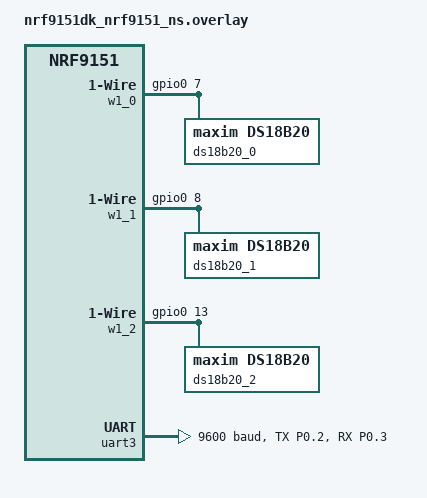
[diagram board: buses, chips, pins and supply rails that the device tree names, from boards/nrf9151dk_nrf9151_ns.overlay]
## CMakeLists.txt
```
#
# Copyright (c) 2019 Nordic Semiconductor
#
# SPDX-License-Identifier: LicenseRef-Nordic-5-Clause
#

cmake_minimum_required(VERSION 3.20.0)

find_package(Zephyr REQUIRED HINTS $ENV{ZEPHYR_BASE})
project(lisp_poc)

# NORDIC SDK APP START
target_sources(app PRIVATE src/main.c src/leds.c)
# NORDIC SDK APP END
```

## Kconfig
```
menu "LISP PoC"

config LISP_POC_RESOURCE
	string "CoAP resource - path"
	default "api/v1/gv5va3mC63vezs1Jke8R/telemetry"

config LISP_POC_SERVER_HOSTNAME
	string "CoAP server hostname"
	default "coap.eu.thingsboard.cloud"

config LISP_POC_SERVER_PORT
	int "CoAP server port"
	default 5683

config LISP_POC_STARTUP_DELAY_SECONDS
	int "Delay between the powerup and app logic start"
	default 15

config LISP_POC_DATA_UPLOAD_ITERATIONS
	int "Number of data transmissions to the server before shutdown"
	range -1 2147483647
	default -1
	help
	  Number of data transmissions to the server before shutdown.
	  Set to -1 to transmit indefinitely.

config LISP_POC_UPLOAD_FREQUENCY_SECONDS
	int "How often data is transmitted to the server"
	default 1800

endmenu

menu "Zephyr Kernel"
source "Kconfig.zephyr"
endmenu

# Log level configuration
module = LISP_POC
module-str = LISP PoC
source "$(ZEPHYR_BASE)/subsys/logging/Kconfig.template.log_config"
```

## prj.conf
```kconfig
# General
CONFIG_ASSERT=y
CONFIG_REBOOT=y
CONFIG_MAIN_STACK_SIZE=4096

# Serial & logging
CONFIG_LOG=y
CONFIG_LOG_BACKEND_SHOW_COLOR=n
CONFIG_LOG_TIMESTAMP_USE_REALTIME=y
CONFIG_UART_CONSOLE=y
CONFIG_SERIAL=y

# Enable the date-time library and automatic update on LTE connect (no regular updates)
CONFIG_DATE_TIME=y
CONFIG_DATE_TIME_MODEM=y
CONFIG_DATE_TIME_AUTO_UPDATE=y
CONFIG_DATE_TIME_TOO_OLD_SECONDS=0
CONFIG_DATE_TIME_UPDATE_INTERVAL_SECONDS=0

# Shell
CONFIG_SHELL=y
CONFIG_SHELL_BACKEND_SERIAL=y
CONFIG_SHELL_LOG_BACKEND=y

# Networking
CONFIG_NETWORKING=y
CONFIG_NET_SOCKETS=y
CONFIG_POSIX_API=y
CONFIG_NET_NATIVE=y
CONFIG_NET_UDP=y
CONFIG_NET_IPV4=y

# CoAP
CONFIG_COAP=y
CONFIG_COAP_CLIENT=y
CONFIG_COAP_CLIENT_THREAD_PRIORITY=10
CONFIG_COAP_CLIENT_MESSAGE_SIZE=1024
CONFIG_COAP_CLIENT_MESSAGE_HEADER_SIZE=64

# Sensors
CONFIG_GPIO=y
CONFIG_SENSOR=y
CONFIG_DS18B20=y
CONFIG_W1=y

# GPIO
CONFIG_GPIO=y

# Reconfig the sample (longer breaks between CoAP reports)
# CONFIG_COAP_SAMPLE_REQUEST_INTERVAL_SECONDS=1800 # 30 minutes

# PSM and eDRX
CONFIG_LTE_LINK_CONTROL=y
CONFIG_LTE_LC_PSM_MODULE=y
CONFIG_LTE_LC_EDRX_MODULE=y
CONFIG_LTE_EDRX_REQ=y
CONFIG_LTE_PSM_REQ=y
CONFIG_LTE_PSM_REQ_RPTAU="00000001" # 10 minutes in sleep
CONFIG_LTE_PSM_REQ_RAT="00100010" # 2 minutes in active time
CONFIG_LTE_LC_MODEM_SLEEP_MODULE=y

# TAU pre warning (experimental only)
CONFIG_LTE_LC_TAU_PRE_WARNING_MODULE=y
CONFIG_LTE_LC_TAU_PRE_WARNING_TIME_MS=3000
CONFIG_LTE_LC_CELLULAR_PROFILE_MODULE=y
CONFIG_LTE_LC_PDN_MODULE=y
CONFIG_LTE_LC_RAI_MODULE=y

# Modem core
CONFIG_NRF_MODEM_LIB=y
CONFIG_MODEM_INFO=y
CONFIG_MODEM_INFO_ADD_NETWORK=y

CONFIG_CBPRINTF_FP_SUPPORT=y

# CONFIG_STACK_SENTINEL=y
# CONFIG_INIT_STACKS=y
# CONFIG_THREAD_STACK_INFO=y
# CONFIG_THREAD_ANALYZER=y
# CONFIG_THREAD_ANALYZER_AUTO=y
# CONFIG_THREAD_ANALYZER_AUTO_INTERVAL=10

CONFIG_SYSTEM_WORKQUEUE_STACK_SIZE=2048
```

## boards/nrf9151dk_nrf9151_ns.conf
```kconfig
#
# Copyright (c) 2024 Nordic Semiconductor ASA
#
# SPDX-License-Identifier: LicenseRef-Nordic-5-Clause
#

# Configuration file for nRF9151 DK
# This file is merged with prj.conf in the application folder, and options
# set here will take precedence if they are present in both files.

# General
CONFIG_HW_ID_LIBRARY_SOURCE_IMEI=y

# Disable Duplicate Address Detection (DAD)
# due to not being properly implemented for offloaded interfaces.
CONFIG_NET_IPV6_NBR_CACHE=n
CONFIG_NET_IPV6_MLD=n

# Zephyr Connectivity layer.
CONFIG_NRF_MODEM_LIB_NET_IF=y
```

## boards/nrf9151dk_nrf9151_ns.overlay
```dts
/ {
    w1_0: w1_gpio_0 {
        compatible = "zephyr,w1-gpio";
        gpios = <&gpio0 7 GPIO_ACTIVE_HIGH>;
        status = "okay";

        ds18b20_0: temperature {
            compatible = "maxim,ds18b20";
            resolution = <12>;
        };
    };

    w1_1: w1_gpio_1 {
        compatible = "zephyr,w1-gpio";
        gpios = <&gpio0 8 GPIO_ACTIVE_HIGH>;
        status = "okay";

        ds18b20_1: temperature {
            compatible = "maxim,ds18b20";
            resolution = <12>;
        };
    };

    w1_2: w1_gpio_2 {
        compatible = "zephyr,w1-gpio";
        gpios = <&gpio0 13 GPIO_ACTIVE_HIGH>;
        status = "okay";

        ds18b20_2: temperature {
            compatible = "maxim,ds18b20";
            resolution = <12>;
        };
    };
};

/ {
    chosen {
        zephyr,console = &uart0;
        zephyr,shell-uart = &uart3;
    };
};

&pinctrl {
    uart3_default: uart3_default {
        group_tx_rx {
            psels = <NRF_PSEL(UART_TX, 0, 2)>,
                    <NRF_PSEL(UART_RX, 0, 3)>;
            bias-pull-up;
        };
    };

    uart3_sleep: uart3_sleep {
        group_tx_rx {
            psels = <NRF_PSEL(UART_TX, 0, 2)>,
                    <NRF_PSEL(UART_RX, 0, 3)>;
            low-power-enable;
        };
    };
};

&uart3 {
    status = "okay";
    current-speed = <9600>;
    pinctrl-0 = <&uart3_default>;
    pinctrl-1 = <&uart3_sleep>;
    pinctrl-names = "default", "sleep";
};

&spi3 {
    status = "disabled";
};
```

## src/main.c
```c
/*
 * TODO: Fix global variables, check return values, improve the architecture, check for corner cases, check for other
 * coding guides suggestions
 */

#include <modem/lte_lc.h>
#include <modem/modem_info.h>
#include <modem/nrf_modem_lib.h>
#include <nrf_modem_at.h>
#include <stdio.h>
#include <string.h>
#include <zephyr/device.h>
#include <zephyr/drivers/sensor.h>
#include <zephyr/kernel.h>
#include <zephyr/logging/log.h>
#include <zephyr/logging/log_ctrl.h>
#include <zephyr/net/coap.h>
#include <zephyr/net/coap_client.h>
#include <zephyr/net/socket.h>
#include <zephyr/random/random.h>
#include <zephyr/sys/reboot.h>

#include "leds.h"

LOG_MODULE_REGISTER(lisp_poc, CONFIG_LISP_POC_LOG_LEVEL);

/* Macro called upon a fatal error, reboots the device. */
#define FATAL_ERROR()                            \
  LOG_ERR("Fatal error! Rebooting the device."); \
  LOG_PANIC();                                   \
  IF_ENABLED(CONFIG_REBOOT, (sys_reboot(0)))

#define MAX_TELEMETRY_SIZE_BYTES 256
#define MAX_OPERATOR_STRING_SIZE_BYTES 16
#define MAX_RAT_STRING_SIZE_BYTES 16
#define WAIT_FOR_NETWORK_TIMEOUT_MINUTES 30
#define FATAL_ERROR_SHUTDOWN_DELAY_SECONDS 10

static const float TEMPERATURE_CALIBRATION_OFFSET_DEGC[] = {0.0f, 0.2f, 0.0f};

static struct k_work_delayable measure_and_upload_work;
static struct sockaddr_storage server = {0};
static struct coap_client coap_client = {0};
static int sock;
static bool is_connected; /* Variable used to indicate if network is connected. */

int last_known_rsrp_dbm = -1;

/* Mutex and conditional variable used to signal network connectivity and shutdown request. */
K_SEM_DEFINE(modem_shutdown_sem, 0, 1);
K_MUTEX_DEFINE(network_connected_lock);
K_CONDVAR_DEFINE(network_connected);

static void wait_for_network(void) {
  k_mutex_lock(&network_connected_lock, K_FOREVER);

  while (!is_connected) {
    LOG_INF("Waiting for network connectivity");
    int err = k_condvar_wait(&network_connected, &network_connected_lock, K_MINUTES(WAIT_FOR_NETWORK_TIMEOUT_MINUTES));
    if (err == -EAGAIN) {
      LOG_ERR("Waiting for the network timed out (timeout: %d minutes)", WAIT_FOR_NETWORK_TIMEOUT_MINUTES);
      k_sem_give(&modem_shutdown_sem);
      k_sleep(K_SECONDS(FATAL_ERROR_SHUTDOWN_DELAY_SECONDS));
      FATAL_ERROR();
    }
  }

  k_mutex_unlock(&network_connected_lock);
}

static void response_cb(int16_t code, size_t offset, const uint8_t* payload, size_t len, bool last_block,
                        void* user_data) {
  if (code >= 0) {
    LOG_INF("CoAP response: code: 0x%x", code);
    if (code >= COAP_RESPONSE_CODE_BAD_REQUEST) {
      LOG_ERR("CoAP response code indicates a failure (restarting the device)");
      lte_lc_func_mode_set(LTE_LC_FUNC_MODE_POWER_OFF);
      FATAL_ERROR();
    }
  } else {
    LOG_INF("Response received with error code: %d", code);
  }
}

static int server_resolve(struct sockaddr_storage* server) {
  int err;
  struct addrinfo* result;
  struct addrinfo hints = {.ai_family = AF_INET, .ai_socktype = SOCK_DGRAM};
  char ipv4_addr[NET_IPV4_ADDR_LEN];

  err = getaddrinfo(CONFIG_LISP_POC_SERVER_HOSTNAME, NULL, &hints, &result);
  if (err) {
    LOG_ERR("getaddrinfo, error: %d", err);
    return err;
  }

  if (result == NULL) {
    LOG_ERR("Address not found");
    return -ENOENT;
  }

  /* IPv4 Address. */
  struct sockaddr_in* server4 = ((struct sockaddr_in*)server);

  server4->sin_addr.s_addr = ((struct sockaddr_in*)result->ai_addr)->sin_addr.s_addr;
  server4->sin_family = AF_INET;
  server4->sin_port = htons(CONFIG_LISP_POC_SERVER_PORT);

  inet_ntop(AF_INET, &server4->sin_addr.s_addr, ipv4_addr, sizeof(ipv4_addr));

  LOG_INF("IPv4 Address found %s", ipv4_addr);

  /* Free the address. */
  freeaddrinfo(result);

  return 0;
}

static int coap_init(void) {
  int err;

  err = server_resolve(&server);
  if (err) {
    LOG_ERR("Failed to resolve server name");
    return err;
  }

  sock = socket(AF_INET, SOCK_DGRAM, IPPROTO_UDP);
  if (sock < 0) {
    LOG_ERR("Failed to create CoAP socket: %d.", -errno);
    return -errno;
  }

  LOG_INF("Initializing CoAP client");

  err = coap_client_init(&coap_client, NULL);
  if (err) {
    LOG_ERR("Failed to initialize CoAP client: %d", err);
    return err;
  }

  return 0;
}

static int get_battery_mv(void) {
  int mv;
  if (modem_info_get_batt_voltage(&mv) == 0) {
    return mv;
  }
  return -1;
}

static int get_rsrp_dbm(void) {
  int rsrp;
  if (modem_info_get_rsrp(&rsrp) == 0) {
    return rsrp;
  }
  return -1;
}

static int get_last_known_rsrp_dbm(void) {
  int rsrp;
  if (modem_info_get_rsrp(&rsrp) == 0) {
    last_known_rsrp_dbm = rsrp;
    return rsrp;
  } else {
    return last_known_rsrp_dbm;
  }
  return -1;
}

static int get_temperature_degc(void) {
  int temperature;
  if (modem_info_get_temperature(&temperature) == 0) {
    return temperature;
  }
  return -1;
}

static int get_operator(char* buf, size_t len) { return modem_info_string_get(MODEM_INFO_OPERATOR, buf, len); }

static int get_rat(char* buf, size_t len) { return modem_info_string_get(MODEM_INFO_LTE_MODE, buf, len); }

static float get_ds18b20_temp(const struct device* ds18b20) {
  if (!device_is_ready(ds18b20)) {
    LOG_ERR("DS18B20 not ready");
    return -1000.0f;
  }

  struct sensor_value temp;

  if (sensor_sample_fetch(ds18b20) < 0) {
    LOG_ERR("Sample fetch failed");
    return -1000.0f;
  }

  if (sensor_channel_get(ds18b20, SENSOR_CHAN_AMBIENT_TEMP, &temp) < 0) {
    LOG_ERR("Channel get failed");
    return -1000.0f;
  }

  float temp_float = sensor_value_to_double(&temp);

  LOG_INF("Temp ds18b20: %.3f C", (double)temp_float);
  return temp_float;
}

static void build_json_payload(char* payload) {
  const struct device* ds0 = DEVICE_DT_GET(DT_NODELABEL(ds18b20_0));
  const struct device* ds1 = DEVICE_DT_GET(DT_NODELABEL(ds18b20_1));
  const struct device* ds2 = DEVICE_DT_GET(DT_NODELABEL(ds18b20_2));
  float t1 = get_ds18b20_temp(ds0) + TEMPERATURE_CALIBRATION_OFFSET_DEGC[0];
  float t2 = get_ds18b20_temp(ds1) + TEMPERATURE_CALIBRATION_OFFSET_DEGC[1];
  float t3 = get_ds18b20_temp(ds2) + TEMPERATURE_CALIBRATION_OFFSET_DEGC[2];

  // Collect system metrics
  uint32_t uptime_h = (k_uptime_get() / 1000) / 3600;
  int voltage_mv = get_battery_mv();
  int temperature_degc = get_temperature_degc();
  int rsrp_dbm = get_last_known_rsrp_dbm();

  char operator[MAX_OPERATOR_STRING_SIZE_BYTES];
  char rat[MAX_RAT_STRING_SIZE_BYTES];
  if (get_operator(operator, sizeof(operator)) < 0) {
    strncpy(operator, "unknown", sizeof(operator));
  }
  if (get_rat(rat, sizeof(rat)) < 0) {
    strncpy(rat, "unknown", sizeof(rat));
  }

  // Construct the json payload in the {"key1":"val1",...}" format
  int len =
      snprintk(payload, MAX_TELEMETRY_SIZE_BYTES,
               "{\"t1\":%.2f, \"t2\":%.2f, \"t3\":%.2f, "
               "\"up_h\":%u, \"temp_c\":%d, "
               "\"bat_mv\":%d, \"rsrp\":%d, "
               "\"plmn\":\"%s\", \"rat\":\"%s\"}",
               (double)t1, (double)t2, (double)t3, uptime_h, temperature_degc, voltage_mv, rsrp_dbm, operator, rat);

  if (len < 0 || len >= MAX_TELEMETRY_SIZE_BYTES) {
    LOG_ERR("MAX_TELEMETRY_SIZE_BYTES reached when building CoAP payload (truncation possible)!");
  }
  LOG_INF("CoAP payload ready: %s", payload);

  return;
}

static void measure_and_upload_work_fn(struct k_work* work) {
  int err;
  struct coap_client_request req = {
      .method = COAP_METHOD_POST,
      .confirmable = true,
      .fmt = COAP_CONTENT_FORMAT_APP_JSON,
      .cb = response_cb,
      .path = CONFIG_LISP_POC_RESOURCE,
  };

  wait_for_network();

  static char payload[MAX_TELEMETRY_SIZE_BYTES + 1] = "";
  build_json_payload(payload);

  req.payload = payload;
  req.len = strlen((char*)payload);

  /* Send request */
  err = coap_client_req(&coap_client, sock, (struct sockaddr*)&server, &req, NULL);
  if (err) {
    /* On error: try repeating the CoAP request once, then try closing the socket and initializing the CoAP again; if
     * this is failing put the modem to CFUN0 and restart the system */
    LOG_ERR("Failed to send a CoAP request: %d", err);
    err = coap_client_req(&coap_client, sock, (struct sockaddr*)&server, &req, NULL);
    if (err) {
      LOG_ERR("Failed to send a CoAP request (first retry after failure): %d", err);
      if (close(sock) < 0) {
        LOG_ERR("Failed to close the socket: %d", errno);
      }
      err = coap_init();
      if (err) {
        LOG_ERR("Failed to initialize the CoAP or related sockets, error: %d", err);
        lte_lc_func_mode_set(LTE_LC_FUNC_MODE_POWER_OFF);
        FATAL_ERROR();
      }
      err = coap_client_req(&coap_client, sock, (struct sockaddr*)&server, &req, NULL);
      if (err) {
        LOG_ERR("Failed to send a CoAP request (second retry after failure): %d", err);
        lte_lc_func_mode_set(LTE_LC_FUNC_MODE_POWER_OFF);
        FATAL_ERROR();
      }
    }
  }

  LOG_INF("CoAP POST request sent to %s, resource: %s", CONFIG_LISP_POC_SERVER_HOSTNAME, CONFIG_LISP_POC_RESOURCE);

  /* Schedule the next measurement and upload job */
  k_work_schedule(&measure_and_upload_work, K_SECONDS(CONFIG_LISP_POC_UPLOAD_FREQUENCY_SECONDS));
}

static void lte_handler(const struct lte_lc_evt* const evt) {
  switch (evt->type) {
    case LTE_LC_EVT_NW_REG_STATUS:
      if ((evt->nw_reg_status != LTE_LC_NW_REG_REGISTERED_HOME) &&
          (evt->nw_reg_status != LTE_LC_NW_REG_REGISTERED_ROAMING)) {
        LOG_INF("Network registration status: %d (not registered)", evt->nw_reg_status);
        /* Update the is_connected */
        k_mutex_lock(&network_connected_lock, K_FOREVER);
        is_connected = false;
        k_mutex_unlock(&network_connected_lock);
        break;
      }

      LOG_INF("Network registration status: %s",
              evt->nw_reg_status == LTE_LC_NW_REG_REGISTERED_HOME ? "Connected - home" : "Connected - roaming");
      /* Update the is_connected and signal it via the cond_va r*/
      k_mutex_lock(&network_connected_lock, K_FOREVER);
      is_connected = true;
      k_condvar_signal(&network_connected);
      k_mutex_unlock(&network_connected_lock);
      break;
    case LTE_LC_EVT_PSM_UPDATE:
      LOG_INF("PSM parameter update: TAU: %d s, Active time: %d s", evt->psm_cfg.tau, evt->psm_cfg.active_time);
      break;
    case LTE_LC_EVT_EDRX_UPDATE:
      LOG_INF("eDRX parameter update: eDRX: %.2f s, PTW: %.2f s", (double)evt->edrx_cfg.edrx,
              (double)evt->edrx_cfg.ptw);
      break;
    case LTE_LC_EVT_RRC_UPDATE:
      LOG_INF("RRC mode: %s", evt->rrc_mode == LTE_LC_RRC_MODE_CONNECTED ? "Connected" : "Idle");
      if (evt->rrc_mode == LTE_LC_RRC_MODE_CONNECTED) {
        leds_signal_rrc_connected();
        last_known_rsrp_dbm = get_rsrp_dbm();
      } else if (evt->rrc_mode == LTE_LC_RRC_MODE_IDLE) {
        leds_signal_rrc_idle();
      }
      break;
    case LTE_LC_EVT_CELL_UPDATE:
      LOG_INF("LTE cell changed: Cell ID: %d, Tracking area: %d", evt->cell.id, evt->cell.tac);
      break;
    case LTE_LC_EVT_LTE_MODE_UPDATE:
      /* Note: None = 0; LTE Cat.M = 7; NB-IoT = 9 */
      LOG_INF("RAT (LTE mode) update: %d", evt->lte_mode);
      break;
    case LTE_LC_EVT_TAU_PRE_WARNING:
      LOG_INF("TAU in %d miliseconds", CONFIG_LTE_LC_TAU_PRE_WARNING_TIME_MS);
      break;
    case LTE_LC_EVT_MODEM_SLEEP_ENTER:
      LOG_INF("Modem entering sleep mode: sleep type: %d, duration: %lld", evt->modem_sleep.type,
              evt->modem_sleep.time);
      break;
    case LTE_LC_EVT_MODEM_SLEEP_EXIT:
      LOG_INF("Modem just woke up");
      break;
    case LTE_LC_EVT_PDN:
      LOG_INF("PDN event: type: %d, cid: %u", evt->pdn.type, evt->pdn.cid);
      break;
    case LTE_LC_EVT_CELLULAR_PROFILE_ACTIVE:
      LOG_INF("Cellular profile change: %hd", evt->cellular_profile.profile_id);
      break;
    case LTE_LC_EVT_RAI_UPDATE:
      /* RAI notification is supported by modem firmware releases >= 2.0.2 */
      LOG_INF("RAI configuration update: Cell ID: %d, MCC: %d, MNC: %d, AS-RAI: %d, CP-RAI: %d", evt->rai_cfg.cell_id,
              evt->rai_cfg.mcc, evt->rai_cfg.mnc, evt->rai_cfg.as_rai, evt->rai_cfg.cp_rai);
      break;
    default:
      LOG_WRN("Unknown LTE LC event: %d", evt->type);
      break;
  }
}

static void log_build_cfg(void) {
  LOG_INF("System Config | startup delay: %d", CONFIG_LISP_POC_STARTUP_DELAY_SECONDS);
  LOG_INF("Data uploads Config | itterations: %d; interval: %d s", CONFIG_LISP_POC_DATA_UPLOAD_ITERATIONS,
          CONFIG_LISP_POC_UPLOAD_FREQUENCY_SECONDS);
  LOG_INF("Network Config | PSM req: %s (sleep: %s, active: %s); eDRX req: %s (LTE-M: %s, NB-IoT: %s)",
          CONFIG_LTE_PSM_REQ ? "On" : "Off", CONFIG_LTE_PSM_REQ_RPTAU, CONFIG_LTE_PSM_REQ_RAT,
          CONFIG_LTE_EDRX_REQ ? "On" : "Off", CONFIG_LTE_EDRX_REQ_VALUE_LTE_M, CONFIG_LTE_EDRX_REQ_VALUE_NBIOT);
}

int main(void) {
  int err;

  LOG_INF("LISP PoC started");
  leds_init();
  leds_startup_animation();

  /* Print key parameters from the build configuration */
  log_build_cfg();

  /* Delay the execution of the actual code for a few seconds, e.g. for connecting the tracing software */
  k_sleep(K_SECONDS(CONFIG_LISP_POC_STARTUP_DELAY_SECONDS));

  /* Initialize the workqueue that will handle periodic measurements and uploads to the cloud */
  k_work_init_delayable(&measure_and_upload_work, measure_and_upload_work_fn);

  /* Initialize the nRF Modem library */
  err = nrf_modem_lib_init();
  if (err) {
    LOG_ERR("Failed to initialize modem library, error: %d", err);
    FATAL_ERROR();
    return err;
  }

  err = modem_info_init();
  if (err) {
    LOG_ERR("modem_info_init failed: %d", err);
  }

  err = lte_lc_connect_async(lte_handler);
  if (err) {
    LOG_ERR("Failed to connect to LTE network, error: %d", err);
    lte_lc_func_mode_set(LTE_LC_FUNC_MODE_POWER_OFF);
    FATAL_ERROR();
    return err;
  }

  /* Wait until the modem connects to the network */
  wait_for_network();

  err = coap_init();
  if (err) {
    LOG_ERR("Failed to initialize the CoAP or related sockets, error: %d", err);
    lte_lc_func_mode_set(LTE_LC_FUNC_MODE_POWER_OFF);
    FATAL_ERROR();
    return err;
  }

  k_work_schedule(&measure_and_upload_work, K_NO_WAIT);

  k_sem_take(&modem_shutdown_sem, K_FOREVER);
  LOG_INF("Shuting down the modem and exiting main()");

  err = lte_lc_func_mode_set(LTE_LC_FUNC_MODE_POWER_OFF);
  if (err) {
    LOG_ERR("Failed to set modem to CFUN=0, err: %d", err);
  }

  err = nrf_modem_lib_shutdown();
  if (err) {
    LOG_ERR("Failed to shutdown the nrf modem lib, error: %d", err);
    return err;
  }

  return 0;
}
```

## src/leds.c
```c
#include <zephyr/drivers/gpio.h>
#include <zephyr/logging/log.h>

LOG_MODULE_REGISTER(leds, LOG_LEVEL_DBG);

/* Map LED dt_specs into the respective const array */
#define DT_LED(i) GPIO_DT_SPEC_GET(DT_ALIAS(led##i), gpios)

#define LEDS_STARTUP_MATRIX_LOOPS_COUNT 8

static const struct gpio_dt_spec leds[] = {
    DT_LED(0),
    DT_LED(1),
    DT_LED(3),
    DT_LED(2),
};

#define LEDS_COUNT ARRAY_SIZE(leds)

void leds_init(void) {
  int ret = 0;

  /* Configure all LEDs as active outputs */
  for (int led_no = 0; led_no < LEDS_COUNT; led_no++) {
    ret = gpio_pin_configure_dt(&leds[led_no], GPIO_OUTPUT_ACTIVE);
    if (ret < 0) {
      LOG_ERR("Failed to configure gpio for LED%d (ret: %d)", led_no, ret);
    }
  }

  return;
}

void leds_set(int n, bool state) {
  gpio_pin_set_dt(&leds[n], state);
  return;
}

void leds_matrix_set(int n) {
  for (int led_no = 0; led_no < LEDS_COUNT; led_no++) {
    leds_set(led_no, (led_no == n));
  }
  return;
}

void leds_startup_animation() {
  for (int loops = 0; loops < LEDS_STARTUP_MATRIX_LOOPS_COUNT; loops++) {
    for (int led = 0; led < LEDS_COUNT; led++) {
      leds_matrix_set(led);
      k_sleep(K_MSEC(150));
    }
  }
  leds_matrix_set(-1);
}

void leds_signal_rrc_connected(void) { leds_matrix_set(0); }

void leds_signal_rrc_idle(void) { leds_matrix_set(-1); }
```

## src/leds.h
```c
#ifndef __LEDS_H__
#define __LEDS_H__

void leds_init(void);
void leds_set(int n, bool state);
void leds_matrix_set(int n);
void leds_startup_animation(void);
void leds_signal_rrc_connected(void);
void leds_signal_rrc_idle(void);

#endif
```
